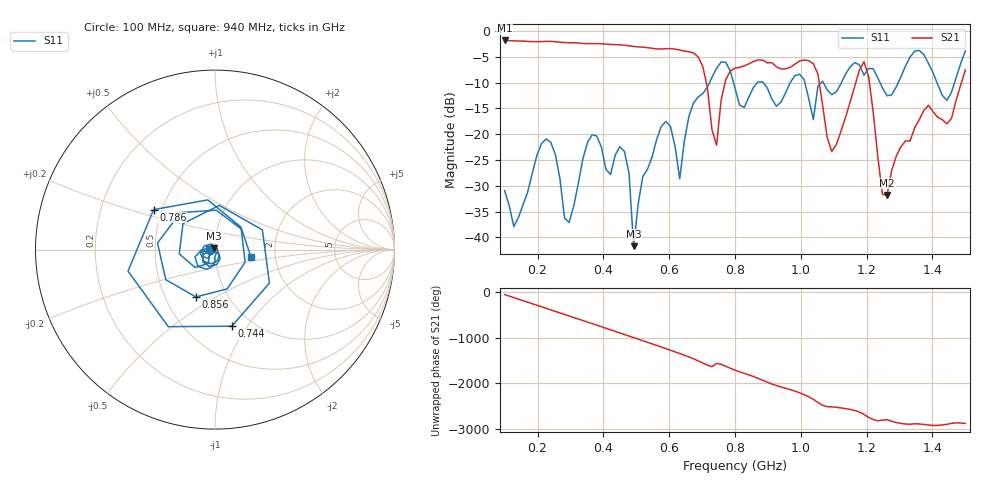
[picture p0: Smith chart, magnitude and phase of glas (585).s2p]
! NanoVNA-App
! Date: 2025-09-25 16:00:02
! Start: 100MHz Stop: 1,5GHz Points: 101
! S-Parameter data: F S11 S21 S12 S22
# Hz S RI R 50
!  Frequency  S11_Real  S11_Imag  S21_Real  S21_Imag  S12_Real  S12_Imag  S22_Real  S22_Imag
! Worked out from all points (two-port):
!   101 points, 100 MHz to 1.5 GHz, reference 50 ohm
!   highest |S21| = -1.80 dB at 100 MHz (marker M1); lowest = -31.8 dB at 1.262 GHz (marker M2)
!   |S21| within 3 dB of the highest: start of sweep to 684.5 MHz
!   lowest |S11| = -41.7 dB at 492 MHz (marker M3), VSWR 1.02, Z = 49.5 + j0.645 ohm
!   |S11| at or under -10 dB: start of sweep to 722.5 MHz; 795.5 MHz to 868.1 MHz (72.66 MHz wide, 8.74 % of centre); 886.1 MHz to 967.5 MHz (81.48 MHz wide, 8.79 % of centre) (the widest 3 of 7)
!   S12 and S22 are empty: the file has one direction only
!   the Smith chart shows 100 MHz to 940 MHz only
!   S11 on the Smith chart (normalised r, x): 100 MHz: 0.95, -0.01; 744 MHz: 0.81, -0.85; 786 MHz: 0.45, +0.24; 856 MHz: 0.71, -0.41; 940 MHz: 1.50, -0.14
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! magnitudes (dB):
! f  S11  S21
! 100 MHz  -30.9  -1.8
! 128 MHz  -37.9  -1.9
! 226 MHz  -20.9  -2.0
! 296 MHz  -37.1  -2.2
! 338 MHz  -24.7  -2.4
! 464 MHz  -23.3  -2.7
! 492 MHz  -41.7  -3.0
! 576 MHz  -18.5  -3.5
! 632 MHz  -28.6  -3.7
! 702 MHz  -12.1  -6.8
! 744 MHz  -7.2  -22.1
! 786 MHz  -7.8  -7.7
! 800 MHz  -11.1  -7.2
! 856 MHz  -10.9  -5.9
! 940 MHz  -13.7  -7.3
! 1.038 GHz  -17.2  -6.3
! 1.094 GHz  -12.3  -23.4
! 1.192 GHz  -8.5  -5.9
! 1.262 GHz  -12.5  -31.8
! 1.276 GHz  -12.4  -27.0
! 1.444 GHz  -13.4  -18.0
! 1.5 GHz  -3.8  -7.5
